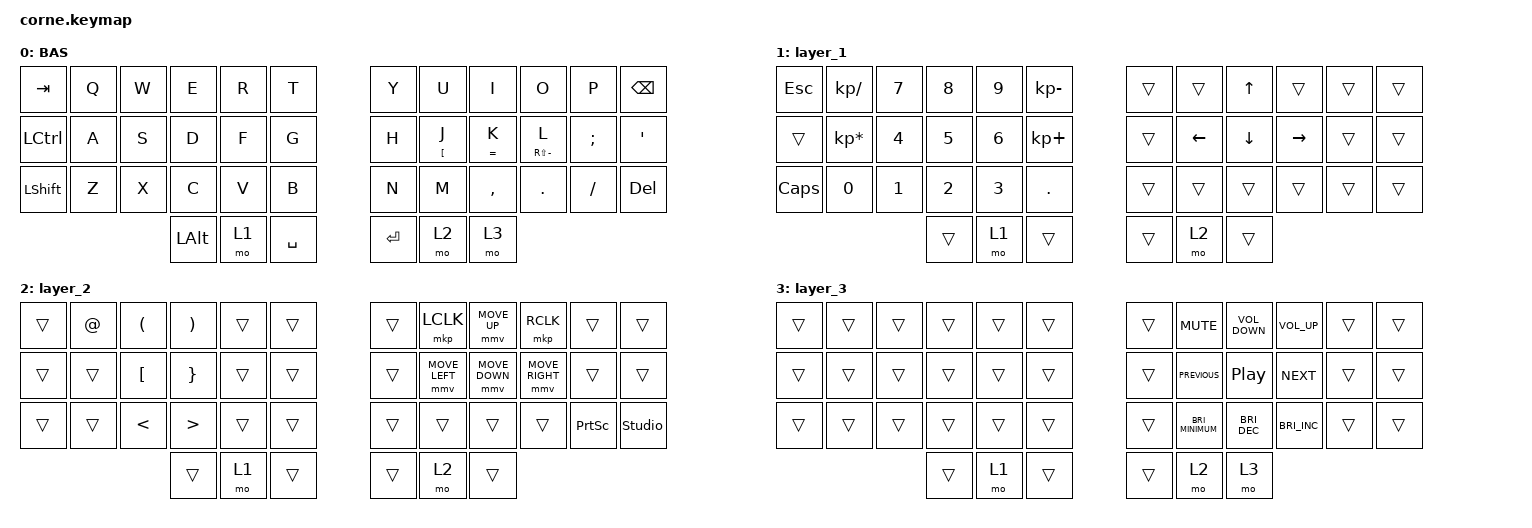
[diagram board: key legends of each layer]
/*
 * Copyright (c) 2020 The ZMK Contributors
 *
 * SPDX-License-Identifier: MIT
 */

#include <dt-bindings/led/led.h>
#include <dt-bindings/zmk/reset.h>
#include <behaviors.dtsi>
#include <dt-bindings/zmk/keys.h>
#include <dt-bindings/zmk/pointing.h>

&led_strip { chain-length = <27>; };

/ {
    behaviors {
        hml: homewrow_mods_left {
            compatible = "zmk,behavior-hold-tap";
            label = "HOMEROW_MODS_LEFT_HAND";
            bindings = <&kp>, <&kp>;

            #binding-cells = <2>;
            hold-trigger-key-positions = <0 1 2 3 4 5 12 13 14 15 16 17 24 25 26 27 28 29 36 37 38>;
            tapping-term-ms = <180>;
        };

        hmr: homewrow_mods_right {
            compatible = "zmk,behavior-hold-tap";
            label = "HOMEROW_MODS_RIGHT_HAND";
            bindings = <&kp>, <&kp>;

            #binding-cells = <2>;
            hold-trigger-key-positions = <6 7 8 9 10 11 18 19 20 21 22 23 30 31 32 33 34 35 39 40 41>;
            tapping-term-ms = <180>;
        };

        tdenter: td_enter {
            compatible = "zmk,behavior-tap-dance";
            label = "TD_ENTER";
            #binding-cells = <0>;
            bindings = <&kp SPACE>, <&kp ENTER>;

            tapping-term-ms = <200>;
        };
    };

    combos {
        compatible = "zmk,combos";

        LWindows {
            bindings = <&kp LGUI>;
            key-positions = <26 25>;
            layers = <0>;
        };

        MCkebimsky {
            bindings = <&Kebimsky>;
            key-positions = <5 6>;
        };

        MCF2 {
            bindings = <&kp F2>;
            key-positions = <14 15>;
            layers = <0>;
        };

        MCF5 {
            bindings = <&kp F5>;
            key-positions = <16 15>;
            layers = <0>;
        };

        MCf4 {
            bindings = <&kp F4>;
            key-positions = <3 4>;
            layers = <0>;
        };

        MCF12 {
            bindings = <&kp F12>;
            key-positions = <32 33>;
            layers = <0>;
        };

        MCF11 {
            bindings = <&kp F11>;
            key-positions = <20 21>;
            layers = <0>;
        };

        MCF6 {
            bindings = <&kp F6>;
            key-positions = <27 28>;
            layers = <0>;
        };

        MCescape {
            bindings = <&kp ESCAPE>;
            key-positions = <0 1>;
            layers = <1 0>;
        };

        Love {
            bindings = <&Love>;
            key-positions = <12 23>;
            layers = <2>;
        };

        MCDelete {
            bindings = <&kp DELETE>;
            key-positions = <4 5>;
            layers = <0>;
        };
    };

    macros {
        Kebimsky: WdIzq {
            compatible = "zmk,behavior-macro";
            #binding-cells = <0>;
            bindings = <&kp LS(K) &kp E &kp B &kp I &kp M &kp S &kp K &kp Y>;
            label = "WDIZQ";
        };

        Love: Abracito {
            compatible = "zmk,behavior-macro";
            #binding-cells = <0>;
            bindings = <&kp LS(Y) &kp A &kp SPACE &kp T &kp E &kp SPACE &kp D &kp I &kp J &kp E &kp SPACE &kp Q &kp U &kp E &kp SPACE &kp T &kp E &kp SPACE &kp Q &kp U &kp I &kp E &kp R &kp O &kp RS(MINUS)>;
            label = "ABRACITO";
        };
    };

    keymap {
        compatible = "zmk,keymap";

        default_layer {
            display-name = "BAS";

            // -----------------------------------------------------------------------------------------
            // |  TAB |  Q  |  W  |  E  |  R  |  T  |   |  Y  |  U   |  I  |  O  |  P  | BKSP |
            // | CTRL |  A  |  S  |  D  |  F  |  G  |   |  H  |  J   |  K  |  L  |  ;  |  '   |
            // | SHFT |  Z  |  X  |  C  |  V  |  B  |   |  N  |  M   |  ,  |  .  |  /  | ESC  |
            //                    | GUI | LWR | SPC |   | ENT | RSE  | ALT |

            bindings = <
&kp TAB    &kp Q  &kp W  &kp E     &kp R  &kp T        &kp Y    &kp U                &kp I         &kp O             &kp P     &kp BSPC
&kp LCTRL  &kp A  &kp S  &kp D     &kp F  &kp G        &kp H    &hmr LEFT_BRACKET J  &hmr EQUAL K  &hmr RS(MINUS) L  &kp SEMI  &kp SQT
&kp LSHFT  &kp Z  &kp X  &kp C     &kp V  &kp B        &kp N    &kp M                &kp COMMA     &kp DOT           &kp FSLH  &kp DELETE
                         &kp LALT  &mo 1  &kp SPACE    &kp RET  &mo 2                &mo 3
            >;
        };

        layer_1 {
            bindings = <
&kp ESCAPE    &kp KP_DIVIDE    &kp N7  &kp N8  &kp N9  &kp KP_SUBTRACT    &trans  &trans    &kp UP    &trans     &trans  &trans
&trans        &kp KP_MULTIPLY  &kp N4  &kp N5  &kp N6  &kp KP_PLUS        &trans  &kp LEFT  &kp DOWN  &kp RIGHT  &trans  &trans
&kp CAPSLOCK  &kp N0           &kp N1  &kp N2  &kp N3  &kp DOT            &trans  &trans    &trans    &trans     &trans  &trans
                                       &trans  &mo 1   &trans             &trans  &mo 2     &trans
            >;
        };

        layer_2 {
            bindings = <
&trans  &kp AT_SIGN  &kp LEFT_PARENTHESIS  &kp RIGHT_PARENTHESIS  &trans  &trans    &trans  &mkp LCLK       &mmv MOVE_UP    &mkp RCLK        &trans           &trans
&trans  &trans       &kp LEFT_BRACKET      &kp RIGHT_BRACE        &trans  &trans    &trans  &mmv MOVE_LEFT  &mmv MOVE_DOWN  &mmv MOVE_RIGHT  &trans           &trans
&trans  &trans       &kp LESS_THAN         &kp GREATER_THAN       &trans  &trans    &trans  &trans          &trans          &trans           &kp PRINTSCREEN  &studio_unlock
                                           &trans                 &mo 1   &trans    &trans  &mo 2           &trans
            >;
        };

        layer_3 {
            bindings = <
&trans  &trans  &trans  &trans  &trans  &trans    &trans  &kp C_MUTE                &kp C_VOLUME_DOWN     &kp C_VOLUME_UP       &trans  &trans
&trans  &trans  &trans  &trans  &trans  &trans    &trans  &kp C_PREVIOUS            &kp C_PLAY_PAUSE      &kp C_NEXT            &trans  &trans
&trans  &trans  &trans  &trans  &trans  &trans    &trans  &kp C_BRIGHTNESS_MINIMUM  &kp C_BRIGHTNESS_DEC  &kp C_BRIGHTNESS_INC  &trans  &trans
                        &trans  &mo 1   &trans    &trans  &mo 2                     &mo 3
            >;
        };
    };
};
